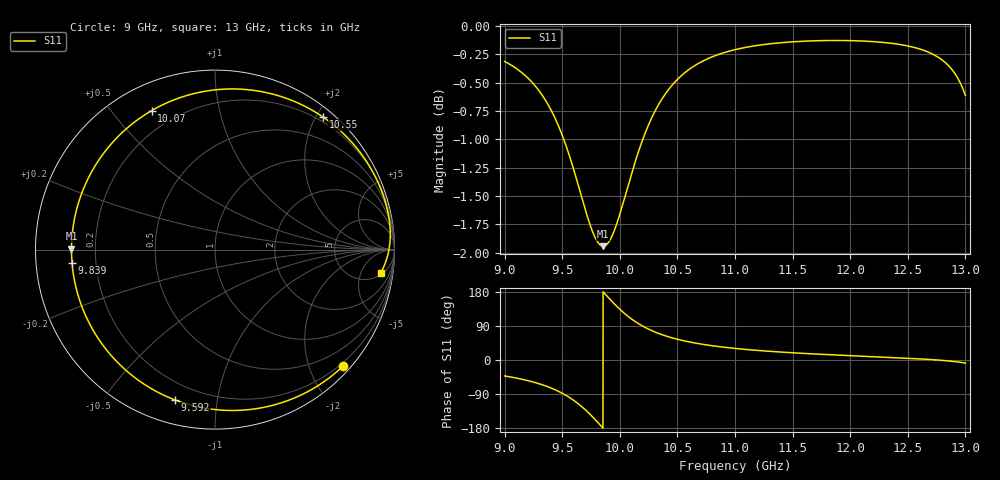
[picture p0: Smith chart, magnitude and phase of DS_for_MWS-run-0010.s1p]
! TOUCHSTONE file generated by CST DESIGN STUDIO
! Date and time: Tue Feb  4 14:03:10 2025
! Project name: C:\Work\MatlabApps\UnitCellOptimizationMatlab\CST\unitcell.cst
! Tree item: Tasks\Sweep1\SPara1\S-Parameters
! Header version: 2024
! Port assignment regex: !\s*Touchstone port\s*([0-9]+)\s*=\s*(CST MWS port|CST DES external port|CST DES block port)\s*(.+)\s* \(\"(.*)\"\)(\s*mode\s*([0-9]+))?.*
! Touchstone port assignment:
! Touchstone port 1 = CST DES external port 1 ("")
# GHz S MA R 50
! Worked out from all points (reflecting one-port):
!   4001 points, 9 GHz to 13 GHz, reference 50 ohm
!   lowest |S11| = -1.9 dB at 9.856 GHz (marker M1), VSWR 8.98, Z = 5.57 + j0.168 ohm
!   phase of S11 starts at -42 deg and turns -326 deg over the sweep
!   S11 on the Smith chart (normalised r, x): 9 GHz: 0.14, -2.59; 9.592 GHz: 0.11, -0.76; 9.839 GHz: 0.11, -0.05; 10.07 GHz: 0.11, +0.64; 10.55 GHz: 0.13, +2.10; 13 GHz: 6, -11
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9  0.9647 -42.1
9.146  0.9541 -50.5
9.278  0.9394 -60.7
9.393  0.9203 -72.7
9.5  0.8951 -87.7
9.592  0.8669 -104.8
9.653  0.8459 -118.8
9.711  0.8264 -134.3
9.779  0.808 -154.9
9.839  0.8 -174.7
9.856  0.7996 179.6
9.889  0.8012 168.6
9.923  0.806 157.4
10  0.826 133.9
10.037  0.8382 123.8
10.074  0.851 114.5
10.148  0.8758 98.5
10.233  0.9003 83.9
10.359  0.9274 67.6
10.5  0.9472 54.7
10.554  0.9528 50.9
10.75  0.9667 39.9
11  0.9763 30.6
11.5  0.9841 19.1
12  0.9854 11.5
12.5  0.98 4.7
12.794  0.9665 -0.9
13  0.9319 -8.1
